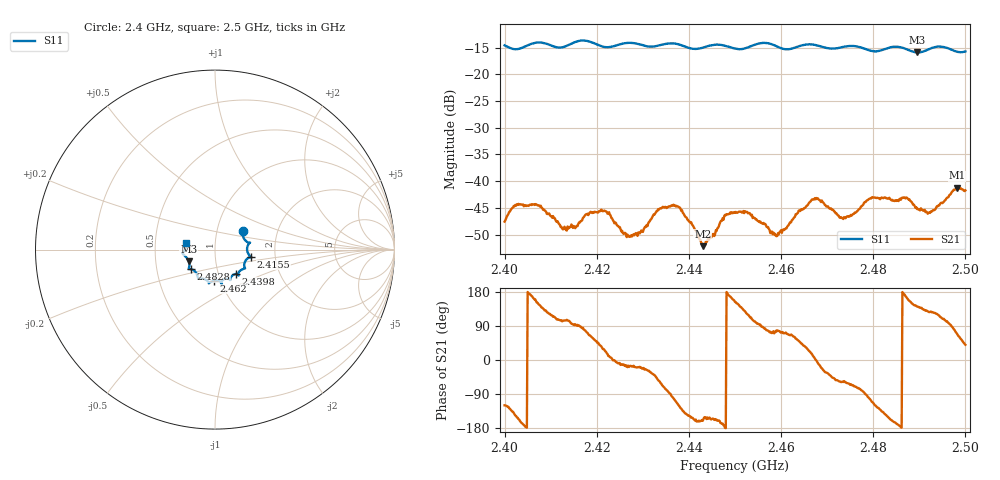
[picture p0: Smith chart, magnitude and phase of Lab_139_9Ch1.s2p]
# Hz S RI R 50
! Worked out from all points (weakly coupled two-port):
!   601 points, 2.4 GHz to 2.5 GHz, reference 50 ohm
!   highest |S21| = -41.24 dB at 2.4982 GHz (marker M1); lowest = -52.2 dB at 2.443 GHz (marker M2)
!   lowest |S11| = -15.9 dB at 2.4895 GHz (marker M3), VSWR 1.38, Z = 36.9 - j5.02 ohm
!   |S11| at or under -10 dB: start of sweep to end of sweep
!   S12 and S22 are empty: the file has one direction only
!   S11 on the Smith chart (normalised r, x): 2.4 GHz: 1.33, +0.29; 2.4155 GHz: 1.49, -0.12; 2.4398 GHz: 1.21, -0.34; 2.462 GHz: 0.93, -0.33; 2.4828 GHz: 0.74, -0.17; 2.5 GHz: 0.72, +0.06
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2.4e9  0.1544 0.1058  -0.00206 -0.00363  0 0  0 0
2.4025e9  0.1592 0.0657  -0.005 -0.00311  0 0  0 0
2.4065e9  0.1935 0.0384  -0.00561 0.00209  0 0  0 0
2.4155e9  0.1985 -0.0394  -0.00013 0.00375  0 0  0 0
2.416667e9  0.2034 -0.043  0.000333 0.00423  0 0  0 0
2.4215e9  0.1717 -0.0592  0.0046 0.00254  0 0  0 0
2.427333e9  0.1679 -0.1044  0.00291 -0.000799  0 0  0 0
2.433333e9  0.1296 -0.1337  0.00326 -0.00439  0 0  0 0
2.437167e9  0.131 -0.143  -0.00195 -0.00545  0 0  0 0
2.439833e9  0.1152 -0.1357  -0.00361 -0.00237  0 0  0 0
2.443e9  0.0885 -0.1545  -0.00232 -0.000826  0 0  0 0
2.45e9  0.0654 -0.1622  -0.00452 0.00228  0 0  0 0
2.458667e9  0.0332 -0.1838  0.000859 0.0031  0 0  0 0
2.462e9  -0.00547 -0.173  0.00172 0.00375  0 0  0 0
2.466667e9  -0.0347 -0.1879  0.00644 0.00189  0 0  0 0
2.473667e9  -0.0864 -0.16  0.0026 -0.0038  0 0  0 0
2.482833e9  -0.1363 -0.1092  -0.0057 -0.00388  0 0  0 0
2.483333e9  -0.1403 -0.1088  -0.00609 -0.00321  0 0  0 0
2.4895e9  -0.1463 -0.0661  -0.00426 0.00345  0 0  0 0
2.492333e9  -0.1714 -0.0313  -0.00304 0.00402  0 0  0 0
2.498167e9  -0.1632 0.00804  0.00302 0.00813  0 0  0 0
2.5e9  -0.1594 0.0395  0.00626 0.00528  0 0  0 0
